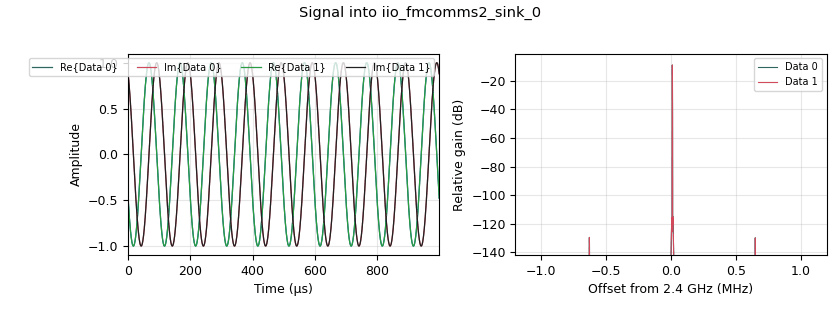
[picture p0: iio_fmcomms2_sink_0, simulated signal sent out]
options:
  parameters:
    author: moon
    generate_options: qt_gui
    id: t2r1
    output_language: python
    title: t2r1
  states: {}

blocks:
- name: frequency
  id: variable_qtgui_range
  parameters:
    label: Frequency
    orient: Qt.Horizontal
    start: '-samp_rate/2'
    step: '10000'
    stop: samp_rate/2
    value: '10000'
  states: {}
- name: phase
  id: variable_qtgui_range
  parameters:
    label: Phase Shift
    orient: Qt.Horizontal
    rangeType: int
    start: '-10'
    step: '1'
    stop: '10'
    value: '0'
  states: {}
- name: samp_rate
  id: variable
  parameters:
    value: '2400000'
  states: {}
- name: analog_sig_source_x_0
  id: analog_sig_source_x
  parameters:
    amp: '1'
    freq: frequency
    offset: '0'
    phase: '0'
    samp_rate: samp_rate
    type: complex
    waveform: analog.GR_COS_WAVE
  states: {}
- name: analog_sig_source_x_0_0
  id: analog_sig_source_x
  parameters:
    amp: '1'
    freq: frequency
    offset: '0'
    phase: phase
    samp_rate: samp_rate
    type: complex
    waveform: analog.GR_COS_WAVE
  states: {}
- name: iio_fmcomms2_sink_0
  id: iio_fmcomms2_sink
  parameters:
    auto_filter: 'True'
    bandwidth: '20000000'
    buffer_size: '32768'
    cyclic: 'False'
    frequency: '2400000000'
    rf_port_select: '''A'''
    samplerate: samp_rate
    tx1_en: 'True'
    tx2_en: 'True'
    uri: 192.168.3.1
  states: {}
- name: iio_pluto_source_0
  id: iio_pluto_source
  parameters:
    auto_filter: 'True'
    bandwidth: '20000000'
    bbdc: 'True'
    buffer_size: '32768'
    frequency: '2400000000'
    gain1: '''slow_attack'''
    quadrature: 'True'
    rfdc: 'True'
    samplerate: samp_rate
    uri: 192.168.2.1
  states: {}
- name: qtgui_time_sink_x_0_0
  id: qtgui_time_sink_x
  parameters:
    ctrlpanel: 'True'
    grid: 'True'
    size: '1024'
    srate: samp_rate
    type: complex
    update_time: '0.1'
    ymax: '2'
    ymin: '-2'
  states: {}
- name: qtgui_time_sink_x_0_0_0
  id: qtgui_time_sink_x
  parameters:
    ctrlpanel: 'True'
    grid: 'True'
    nconnections: '2'
    size: '1024'
    srate: samp_rate
    type: complex
    update_time: '0.1'
    ymax: '2'
    ymin: '-2'
  states: {state: disabled}

connections:
- [analog_sig_source_x_0, '0', iio_fmcomms2_sink_0, '0']
- [analog_sig_source_x_0, '0', qtgui_time_sink_x_0_0_0, '0']
- [analog_sig_source_x_0_0, '0', iio_fmcomms2_sink_0, '1']
- [analog_sig_source_x_0_0, '0', qtgui_time_sink_x_0_0_0, '1']
- [iio_pluto_source_0, '0', qtgui_time_sink_x_0_0, '0']

metadata:
  file_format: 1
